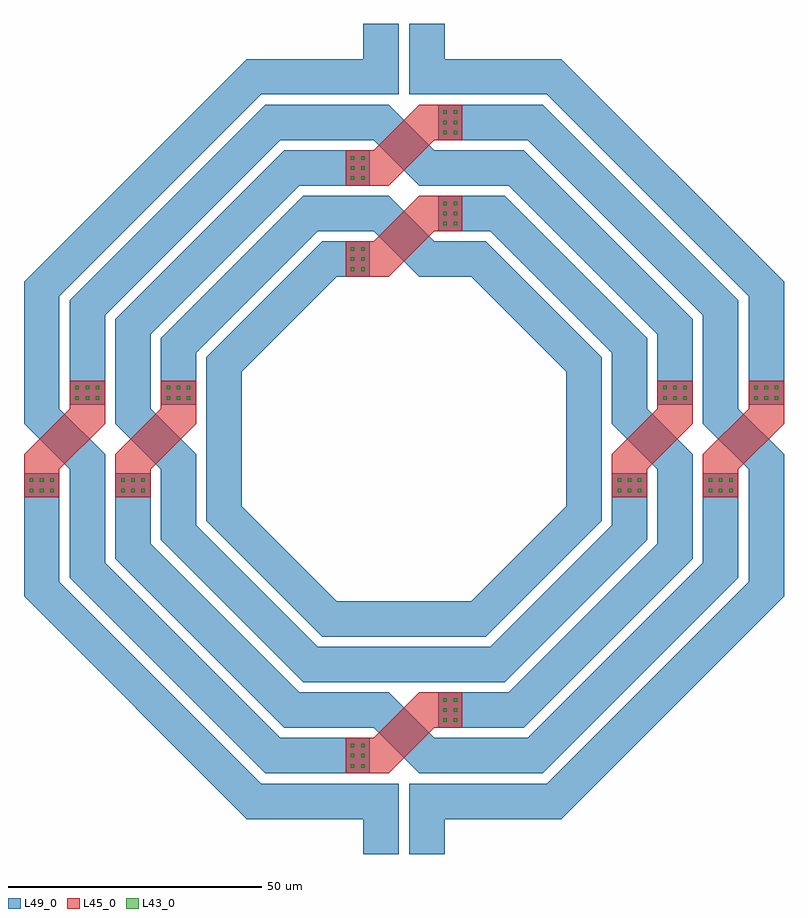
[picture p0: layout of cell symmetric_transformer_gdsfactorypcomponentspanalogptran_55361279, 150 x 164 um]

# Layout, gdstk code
import gdstk
lib = gdstk.Library(unit=1e-6, precision=1e-09)
def R(c, l, rs):  # rectangles x0, y0, x1, y1
    for r in rs: c.add(gdstk.rectangle(r[:2], r[2:], *l))
def P(c, l, *ps):  # polygons
    for p in ps: c.add(gdstk.Polygon(p, *l))
L43_0 = (43, 0)
L45_0 = (45, 0)
L49_0 = (49, 0)

via_gdsfactorypcomponent = lib.new_cell('via_gdsfactorypcomponentspviaspvia_S0p7_0p7_E1_LVIA2_BL_c51b5ebb')
R(via_gdsfactorypcomponent, L43_0, [(-0.35,-0.35,0.35,0.35)])

symmetric_transformer_gd = lib.new_cell('symmetric_transformer_gdsfactorypcomponentspanalogptran_55361279')
P(symmetric_transformer_gd, L45_0, [(59,-11.478),(59,-6.778),(59,-3.05),(68,5.95),(68,6.778),(68,11.478),(75,11.478),(75,6.778),(75,3.05),(66,-5.95),(66,-6.778),(66,-11.478)],
  [(-75,-11.478),(-75,-6.778),(-75,-3.05),(-66,5.95),(-66,6.778),(-66,11.478),(-59,11.478),(-59,6.778),(-59,3.05),(-68,-5.95),(-68,-6.778),(-68,-11.478)],
  [(-11.478,50),(-11.478,57),(-6.778,57),(-5.95,57),(3.05,66),(6.778,66),(11.478,66),(11.478,59),(6.778,59),(5.95,59),(-3.05,50),(-6.778,50)],
  [(-11.478,-66),(-11.478,-59),(-6.778,-59),(-5.95,-59),(3.05,-50),(6.778,-50),(11.478,-50),(11.478,-57),(6.778,-57),(5.95,-57),(-3.05,-66),(-6.778,-66)],
  [(41,-11.478),(41,-6.778),(41,-3.05),(50,5.95),(50,6.778),(50,11.478),(57,11.478),(57,6.778),(57,3.05),(48,-5.95),(48,-6.778),(48,-11.478)],
  [(-57,-11.478),(-57,-6.778),(-57,-3.05),(-48,5.95),(-48,6.778),(-48,11.478),(-41,11.478),(-41,6.778),(-41,3.05),(-50,-5.95),(-50,-6.778),(-50,-11.478)],
  [(-11.478,32),(-11.478,39),(-6.778,39),(-5.95,39),(3.05,48),(6.778,48),(11.478,48),(11.478,41),(6.778,41),(5.95,41),(-3.05,32),(-6.778,32)])
R(symmetric_transformer_gd, L49_0, [(-6.778,-48,6.778,-41), (-6.778,-39,6.778,-32), (-39,-6.778,-32,6.778), (32,-6.778,39,6.778)])
P(symmetric_transformer_gd, L49_0, [(-75,6.778),(-75,31.066),(-31.066,75),(-6.778,75),(-6.778,68),(-28.167,68),(-68,28.167),(-68,6.778)],
  [(-31.066,-75),(-75,-31.066),(-75,-6.778),(-68,-6.778),(-68,-28.167),(-28.167,-68),(-6.778,-68),(-6.778,-75)],
  [(68,6.778),(68,28.167),(28.167,68),(6.778,68),(6.778,75),(31.066,75),(75,31.066),(75,6.778)],
  [(6.778,-75),(6.778,-68),(28.167,-68),(68,-28.167),(68,-6.778),(75,-6.778),(75,-31.066),(31.066,-75)],
  [(-66,-6.778),(-66,-5.95),(-75,3.05),(-75,6.778),(-68,6.778),(-68,5.95),(-59,-3.05),(-59,-6.778)],
  [(68,-6.778),(68,-5.95),(59,3.05),(59,6.778),(66,6.778),(66,5.95),(75,-3.05),(75,-6.778)],
  [(-66,6.778),(-66,27.338),(-27.338,66),(-6.778,66),(-6.778,59),(-24.439,59),(-59,24.439),(-59,6.778)],
  [(-27.338,-66),(-66,-27.338),(-66,-6.778),(-59,-6.778),(-59,-24.439),(-24.439,-59),(-6.778,-59),(-6.778,-66)],
  [(59,6.778),(59,24.439),(24.439,59),(6.778,59),(6.778,66),(27.338,66),(66,27.338),(66,6.778)],
  [(6.778,-66),(6.778,-59),(24.439,-59),(59,-24.439),(59,-6.778),(66,-6.778),(66,-27.338),(27.338,-66)],
  [(3.05,50),(-5.95,59),(-6.778,59),(-6.778,66),(-3.05,66),(5.95,57),(6.778,57),(6.778,50)],
  [(3.05,-66),(-5.95,-57),(-6.778,-57),(-6.778,-50),(-3.05,-50),(5.95,-59),(6.778,-59),(6.778,-66)],
  [(-57,6.778),(-57,23.61),(-23.61,57),(-6.778,57),(-6.778,50),(-20.711,50),(-50,20.711),(-50,6.778)],
  [(-23.61,-57),(-57,-23.61),(-57,-6.778),(-50,-6.778),(-50,-20.711),(-20.711,-50),(-6.778,-50),(-6.778,-57)],
  [(50,6.778),(50,20.711),(20.711,50),(6.778,50),(6.778,57),(23.61,57),(57,23.61),(57,6.778)],
  [(6.778,-57),(6.778,-50),(20.711,-50),(50,-20.711),(50,-6.778),(57,-6.778),(57,-23.61),(23.61,-57)],
  [(-48,-6.778),(-48,-5.95),(-57,3.05),(-57,6.778),(-50,6.778),(-50,5.95),(-41,-3.05),(-41,-6.778)],
  [(50,-6.778),(50,-5.95),(41,3.05),(41,6.778),(48,6.778),(48,5.95),(57,-3.05),(57,-6.778)],
  [(-48,6.778),(-48,19.882),(-19.882,48),(-6.778,48),(-6.778,41),(-16.983,41),(-41,16.983),(-41,6.778)],
  [(-19.882,-48),(-48,-19.882),(-48,-6.778),(-41,-6.778),(-41,-16.983),(-16.983,-41),(-6.778,-41),(-6.778,-48)],
  [(41,6.778),(41,16.983),(16.983,41),(6.778,41),(6.778,48),(19.882,48),(48,19.882),(48,6.778)],
  [(6.778,-48),(6.778,-41),(16.983,-41),(41,-16.983),(41,-6.778),(48,-6.778),(48,-19.882),(19.882,-48)],
  [(3.05,32),(-5.95,41),(-6.778,41),(-6.778,48),(-3.05,48),(5.95,39),(6.778,39),(6.778,32)],
  [(-39,6.778),(-39,16.154),(-16.154,39),(-6.778,39),(-6.778,32),(-13.255,32),(-32,13.255),(-32,6.778)],
  [(-16.154,-39),(-39,-16.154),(-39,-6.778),(-32,-6.778),(-32,-13.255),(-13.255,-32),(-6.778,-32),(-6.778,-39)],
  [(32,6.778),(32,13.255),(13.255,32),(6.778,32),(6.778,39),(16.154,39),(39,16.154),(39,6.778)],
  [(6.778,-39),(6.778,-32),(13.255,-32),(32,-13.255),(32,-6.778),(39,-6.778),(39,-16.154),(16.154,-39)],
  [(-8,-82),(-8,-75),(-6.778,-75),(-6.778,-68),(-1,-68),(-1,-82)],
  [(1,-82),(1,-68),(6.778,-68),(6.778,-75),(8,-75),(8,-82)],
  [(-6.778,68),(-6.778,75),(-8,75),(-8,82),(-1,82),(-1,68)],
  [(1,68),(1,82),(8,82),(8,75),(6.778,75),(6.778,68)])
r = gdstk.Reference(via_gdsfactorypcomponent, (-73.5,-10.128)); r.repetition = gdstk.Repetition(3, 2, v1=(2,0), v2=(0,2)); symmetric_transformer_gd.add(r)
r = gdstk.Reference(via_gdsfactorypcomponent, (-64.5,8.128)); r.repetition = gdstk.Repetition(3, 2, v1=(2,0), v2=(0,2)); symmetric_transformer_gd.add(r)
r = gdstk.Reference(via_gdsfactorypcomponent, (60.5,-10.128)); r.repetition = gdstk.Repetition(3, 2, v1=(2,0), v2=(0,2)); symmetric_transformer_gd.add(r)
r = gdstk.Reference(via_gdsfactorypcomponent, (69.5,8.128)); r.repetition = gdstk.Repetition(3, 2, v1=(2,0), v2=(0,2)); symmetric_transformer_gd.add(r)
r = gdstk.Reference(via_gdsfactorypcomponent, (-10.128,51.5)); r.repetition = gdstk.Repetition(2, 3, v1=(2,0), v2=(0,2)); symmetric_transformer_gd.add(r)
r = gdstk.Reference(via_gdsfactorypcomponent, (8.128,60.5)); r.repetition = gdstk.Repetition(2, 3, v1=(2,0), v2=(0,2)); symmetric_transformer_gd.add(r)
r = gdstk.Reference(via_gdsfactorypcomponent, (-10.128,-64.5)); r.repetition = gdstk.Repetition(2, 3, v1=(2,0), v2=(0,2)); symmetric_transformer_gd.add(r)
r = gdstk.Reference(via_gdsfactorypcomponent, (8.128,-55.5)); r.repetition = gdstk.Repetition(2, 3, v1=(2,0), v2=(0,2)); symmetric_transformer_gd.add(r)
r = gdstk.Reference(via_gdsfactorypcomponent, (-55.5,-10.128)); r.repetition = gdstk.Repetition(3, 2, v1=(2,0), v2=(0,2)); symmetric_transformer_gd.add(r)
r = gdstk.Reference(via_gdsfactorypcomponent, (-46.5,8.128)); r.repetition = gdstk.Repetition(3, 2, v1=(2,0), v2=(0,2)); symmetric_transformer_gd.add(r)
r = gdstk.Reference(via_gdsfactorypcomponent, (42.5,-10.128)); r.repetition = gdstk.Repetition(3, 2, v1=(2,0), v2=(0,2)); symmetric_transformer_gd.add(r)
r = gdstk.Reference(via_gdsfactorypcomponent, (51.5,8.128)); r.repetition = gdstk.Repetition(3, 2, v1=(2,0), v2=(0,2)); symmetric_transformer_gd.add(r)
r = gdstk.Reference(via_gdsfactorypcomponent, (-10.128,33.5)); r.repetition = gdstk.Repetition(2, 3, v1=(2,0), v2=(0,2)); symmetric_transformer_gd.add(r)
r = gdstk.Reference(via_gdsfactorypcomponent, (8.128,42.5)); r.repetition = gdstk.Repetition(2, 3, v1=(2,0), v2=(0,2)); symmetric_transformer_gd.add(r)

lib.write_gds('symmetric_transformer_gdsfactorypcomponentspanalogptran_55361279.gds')
